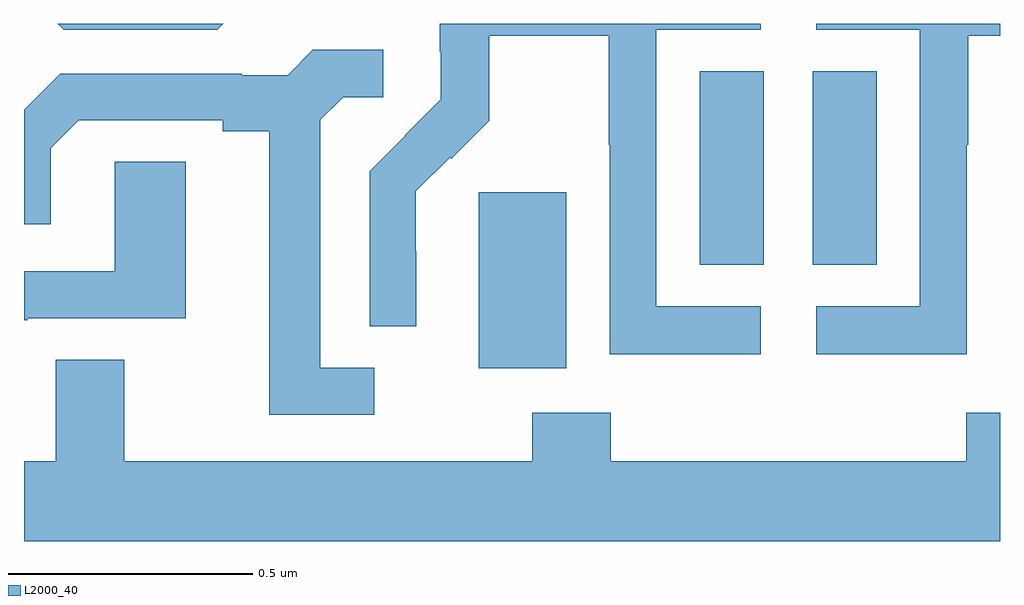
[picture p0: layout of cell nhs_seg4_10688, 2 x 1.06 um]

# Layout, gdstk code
import gdstk
lib = gdstk.Library(unit=1e-6, precision=1e-09)
def R(c, l, rs):  # rectangles x0, y0, x1, y1
    for r in rs: c.add(gdstk.rectangle(r[:2], r[2:], *l))
def P(c, l, *ps):  # polygons
    for p in ps: c.add(gdstk.Polygon(p, *l))
L2000_40 = (2000, 40)

nhs_seg4_10688 = lib.new_cell('nhs_seg4_10688')
R(nhs_seg4_10688, L2000_40, [(243.932,777.194,244.111,777.555), (244.385,777.406,244.516,777.803), (244.616,777.406,244.747,777.803)])
P(nhs_seg4_10688, L2000_40, [(243.408,777.9),(243.069,777.9),(243.081,777.888),(243.396,777.888)],
  [(244.51,777.321),(244.296,777.321),(244.296,777.888),(244.51,777.888),(244.51,777.9),(243.852,777.9),(243.852,777.843),(243.854,777.843),(243.854,777.746),(243.78,777.672),(243.781,777.671),(243.708,777.598),(243.708,777.28),(243.804,777.28),(243.804,777.434),(243.803,777.434),(243.803,777.557),(243.873,777.627),(243.876,777.624),(243.953,777.701),(243.953,777.876),(244.198,777.876),(244.198,777.652),(244.2,777.652),(244.2,777.223),(244.51,777.223)],
  [(244.932,777.652),(244.935,777.652),(244.935,777.876),(245,777.876),(245,777.9),(244.623,777.9),(244.623,777.888),(244.836,777.888),(244.836,777.321),(244.623,777.321),(244.623,777.223),(244.932,777.223)],
  [(243.718,777.195),(243.607,777.195),(243.607,777.703),(243.654,777.75),(243.736,777.75),(243.736,777.847),(243.592,777.847),(243.54,777.795),(243.446,777.795),(243.446,777.798),(243.074,777.798),(243,777.724),(243,777.489),(243.055,777.489),(243.055,777.645),(243.112,777.702),(243.407,777.702),(243.407,777.68),(243.503,777.68),(243.503,777.099),(243.718,777.099)],
  [(243.007,777.297),(243.331,777.297),(243.331,777.617),(243.186,777.617),(243.186,777.393),(243,777.393),(243,777.293),(243.007,777.293)],
  [(245,777.103),(244.931,777.103),(244.931,777.004),(244.202,777.004),(244.202,777.103),(244.042,777.103),(244.042,777.004),(243.205,777.004),(243.205,777.212),(243.065,777.212),(243.065,777.004),(243,777.004),(243,776.84),(245,776.84)])

lib.write_gds('nhs_seg4_10688.gds')
